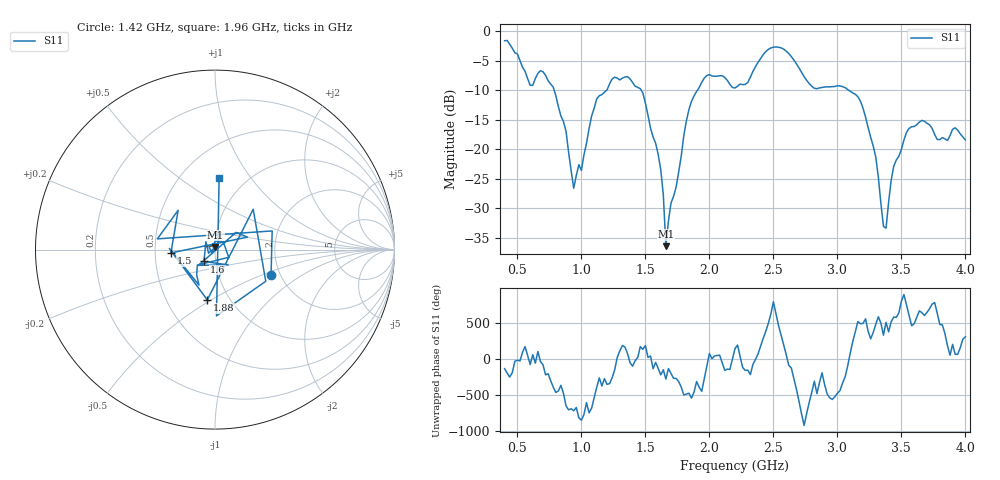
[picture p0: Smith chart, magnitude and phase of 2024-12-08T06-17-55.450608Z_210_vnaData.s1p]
!Created with skrf (http://scikit-rf.org).
# Hz S RI R 50.0
!freq ReS11 ImS11
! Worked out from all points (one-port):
!   181 points, 400 MHz to 4 GHz, reference 50 ohm
!   lowest |S11| = -36.4 dB at 1.66 GHz (marker M1), VSWR 1.03, Z = 50.2 + j1.5 ohm
!   |S11| at or under -10 dB: 787.6 MHz to 1.197 GHz (409.4 MHz wide, 41.3 % of centre); 1.468 GHz to 1.906 GHz (438.2 MHz wide, 26 % of centre); 3.089 GHz to end of sweep
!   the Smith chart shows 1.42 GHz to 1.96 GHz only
!   S11 on the Smith chart (normalised r, x): 1.42 GHz: 1.79, -0.57; 1.5 GHz: 0.61, -0.02; 1.6 GHz: 0.88, -0.12; 1.88 GHz: 0.79, -0.48; 1.96 GHz: 0.75, +0.72
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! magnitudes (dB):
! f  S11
! 400 MHz  -1.6
! 600 MHz  -9.1
! 700 MHz  -6.9
! 860 MHz  -15.3
! 940 MHz  -26.6
! 1.12 GHz  -11.4
! 1.3 GHz  -8.2
! 1.42 GHz  -9.3
! 1.5 GHz  -12.2
! 1.6 GHz  -20.9
! 1.64 GHz  -27.7
! 1.66 GHz  -36.4
! 1.7 GHz  -29.1
! 1.76 GHz  -23.8
! 1.88 GHz  -10.9
! 1.96 GHz  -7.9
! 2.2 GHz  -9.6
! 2.48 GHz  -2.8
! 2.66 GHz  -4.9
! 2.82 GHz  -9.6
! 3.1 GHz  -10.2
! 3.18 GHz  -11.8
! 3.28 GHz  -19.4
! 3.36 GHz  -33.1
! 3.38 GHz  -33.3
! 3.44 GHz  -22.9
! 3.56 GHz  -16.5
! 4 GHz  -18.4
